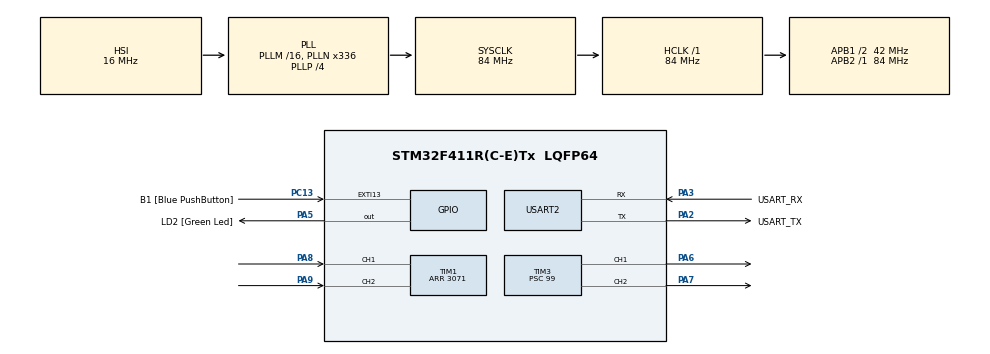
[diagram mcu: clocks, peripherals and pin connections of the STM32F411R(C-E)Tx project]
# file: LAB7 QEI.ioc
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Mcu.Family=STM32F4
PC15-OSC32_OUT.Mode=LSE-External-Oscillator
RCC.CortexFreq_Value=84000000
PC13-ANTI_TAMP.GPIO_Label=B1 [Blue PushButton]
PA14.GPIO_Label=TCK
PH1\ -\ OSC_OUT.Mode=HSE-External-Clock-Source
TIM1.EncoderMode=TIM_ENCODERMODE_TI12
RCC.APB1CLKDivider=RCC_HCLK_DIV2
PC14-OSC32_IN.Signal=RCC_OSC32_IN
RCC.SYSCLKSource=RCC_SYSCLKSOURCE_PLLCLK
ProjectManager.StackSize=0x400
PA3.Mode=Asynchronous
PA13.Signal=SYS_JTMS-SWDIO
PH0\ -\ OSC_IN.Mode=HSE-External-Clock-Source
SH.S_TIM1_CH1.0=TIM1_CH1,Encoder_Interface
PH0\ -\ OSC_IN.Signal=RCC_OSC_IN
ProjectManager.TargetToolchain=STM32CubeIDE
RCC.HCLKFreq_Value=84000000
RCC.APB2TimFreq_Value=84000000
TIM3.Period=10000
PA9.Signal=S_TIM1_CH2
PC15-OSC32_OUT.Signal=RCC_OSC32_OUT
RCC.AHBFreq_Value=84000000
TIM3.Channel-PWM\ Generation1\ CH1=TIM_CHANNEL_1
PA5.Signal=GPIO_Output
SH.S_TIM3_CH2.0=TIM3_CH2,PWM Generation2 CH2
RCC.HSE_VALUE=8000000
PH1\ -\ OSC_OUT.Signal=RCC_OSC_OUT
board=NUCLEO-F411RE
PC13-ANTI_TAMP.Signal=GPXTI13
RCC.VCOOutputFreq_Value=336000000
RCC.APB2Freq_Value=84000000
PC14-OSC32_IN.Mode=LSE-External-Oscillator
SH.S_TIM1_CH2.0=TIM1_CH2,Encoder_Interface
VP_TIM2_VS_ClockSourceINT.Mode=Internal
PA14.Mode=Serial_Wire
TIM3.Prescaler=99
NVIC.TIM2_IRQn=true\:0\:0\:false\:false\:true\:true\:true
TIM1.IC2Filter=2
PA8.Signal=S_TIM1_CH1
SH.S_TIM3_CH1.0=TIM3_CH1,PWM Generation1 CH1
PA13.Mode=Serial_Wire
Mcu.Name=STM32F411R(C-E)Tx
PA2.Signal=USART2_TX
PA13.GPIO_Label=TMS
RCC.FLatency-AdvancedSettings=FLASH_LATENCY_2
RCC.48MHZClocksFreq_Value=84000000
PB3.Signal=SYS_JTDO-SWO
RCC.SYSCLKFreq_VALUE=84000000
Mcu.Package=LQFP64
TIM2.Prescaler=99
PA6.Signal=S_TIM3_CH1
PA5.GPIO_Label=LD2 [Green Led]
TIM1.IC1Filter=2
USART2.VirtualMode=VM_ASYNC
PC13-ANTI_TAMP.GPIO_ModeDefaultEXTI=GPIO_MODE_IT_FALLING
PA2.GPIO_Label=USART_TX
PA14.Signal=SYS_JTCK-SWCLK
ProjectManager.HeapSize=0x200
RCC.HSI_VALUE=16000000
RCC.PLLP=RCC_PLLP_DIV4
NVIC.PriorityGroup=NVIC_PRIORITYGROUP_0
TIM3.Channel-PWM\ Generation2\ CH2=TIM_CHANNEL_2
RCC.PLLN=336
RCC.APB1TimFreq_Value=84000000
PA2.Mode=Asynchronous
TIM1.Period=3071
RCC.APB1Freq_Value=42000000
VP_TIM3_VS_ClockSourceINT.Mode=Internal
PA3.GPIO_Label=USART_RX
PA3.Signal=USART2_RX
PA7.Signal=S_TIM3_CH2
PB3.GPIO_Label=SWO

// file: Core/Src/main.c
/* USER CODE BEGIN Header */
/**
 ******************************************************************************
 * @file           : main.c
 * @brief          : Main program body
 ******************************************************************************
 * @attention
 *
 * <h2><center>&copy; Copyright (c) 2021 STMicroelectronics.
 * All rights reserved.</center></h2>
 *
 * This software component is licensed by ST under BSD 3-Clause license,
 * the "License"; You may not use this file except in compliance with the
 * License. You may obtain a copy of the License at:
 *                        opensource.org/licenses/BSD-3-Clause
 *
 ******************************************************************************
 */
/* USER CODE END Header */
#include "main.h"

TIM_HandleTypeDef htim1;
TIM_HandleTypeDef htim2;
TIM_HandleTypeDef htim3;

UART_HandleTypeDef huart2;

/* USER CODE BEGIN PV */
uint64_t _micros = 0;
float EncoderVel = 0;
float MotorRPM = 0;
uint64_t Timestamp_Encoder = 0;
int PWMOut = 0;
int InputRPM = 0;
/* USER CODE END PV */

void SystemClock_Config(void);
static void MX_GPIO_Init(void);
static void MX_USART2_UART_Init(void);
static void MX_TIM1_Init(void);
static void MX_TIM3_Init(void);
static void MX_TIM2_Init(void);
/* USER CODE BEGIN PFP */
uint64_t micros();
float EncoderVelocity_Update();
void RunMotor();
void PWMControl(int);

/* USER CODE END PFP */

int main(void)
{

  /* MCU Configuration--------------------------------------------------------*/

  /* Reset of all peripherals, Initializes the Flash interface and the Systick. */
  HAL_Init();

  /* Configure the system clock */
  SystemClock_Config();

  /* Initialize all configured peripherals */
  MX_GPIO_Init();
  MX_USART2_UART_Init();
  MX_TIM1_Init();
  MX_TIM3_Init();
  MX_TIM2_Init();
  /* USER CODE BEGIN 2 */
	HAL_TIM_Base_Start_IT(&htim2);
	HAL_TIM_Encoder_Start(&htim1, TIM_CHANNEL_ALL);

	HAL_TIM_Base_Start(&htim3);
	HAL_TIM_PWM_Start(&htim3, TIM_CHANNEL_1);
	HAL_TIM_PWM_Start(&htim3, TIM_CHANNEL_2);
  /* USER CODE END 2 */

  /* Infinite loop */
	while (1)
	{

    /* USER CODE BEGIN 3 */

		//RAW Read
//		if (micros() - Timestamp_Encoder >= 1000)
//		{
//			Timestamp_Encoder = micros();
//			EncoderVel = EncoderVelocity_Update();
//		}

		//Add LPF?

		if (micros() - Timestamp_Encoder >= 1000) //1000uS
		{
//			__HAL_TIM_SET_COMPARE(&htim3, TIM_CHANNEL_1, PWMOut);
//			__HAL_TIM_SET_COMPARE(&htim3, TIM_CHANNEL_2, 0);
//			HAL_GPIO_WritePin(GPIOA, GPIO_PIN_7, 1);
			Timestamp_Encoder = micros();
			EncoderVel = (EncoderVel * 99 + EncoderVelocity_Update()) / 100.0;
			MotorRPM = (MotorRPM * 99 + (EncoderVel*60/3072)) / 100.0;
			RunMotor();
		}

	}
  /* USER CODE END 3 */
}

void SystemClock_Config(void)
{
  RCC_OscInitTypeDef RCC_OscInitStruct = {0};
  RCC_ClkInitTypeDef RCC_ClkInitStruct = {0};

  /** Configure the main internal regulator output voltage
  */
  __HAL_RCC_PWR_CLK_ENABLE();
  __HAL_PWR_VOLTAGESCALING_CONFIG(PWR_REGULATOR_VOLTAGE_SCALE1);
  /** Initializes the RCC Oscillators according to the specified parameters
  * in the RCC_OscInitTypeDef structure.
  */
  RCC_OscInitStruct.OscillatorType = RCC_OSCILLATORTYPE_HSI;
  RCC_OscInitStruct.HSIState = RCC_HSI_ON;
  RCC_OscInitStruct.HSICalibrationValue = RCC_HSICALIBRATION_DEFAULT;
  RCC_OscInitStruct.PLL.PLLState = RCC_PLL_ON;
  RCC_OscInitStruct.PLL.PLLSource = RCC_PLLSOURCE_HSI;
  RCC_OscInitStruct.PLL.PLLM = 16;
  RCC_OscInitStruct.PLL.PLLN = 336;
  RCC_OscInitStruct.PLL.PLLP = RCC_PLLP_DIV4;
  RCC_OscInitStruct.PLL.PLLQ = 4;
  if (HAL_RCC_OscConfig(&RCC_OscInitStruct) != HAL_OK)
  {
    Error_Handler();
  }
  /** Initializes the CPU, AHB and APB buses clocks
  */
  RCC_ClkInitStruct.ClockType = RCC_CLOCKTYPE_HCLK|RCC_CLOCKTYPE_SYSCLK
                              |RCC_CLOCKTYPE_PCLK1|RCC_CLOCKTYPE_PCLK2;
  RCC_ClkInitStruct.SYSCLKSource = RCC_SYSCLKSOURCE_PLLCLK;
  RCC_ClkInitStruct.AHBCLKDivider = RCC_SYSCLK_DIV1;
  RCC_ClkInitStruct.APB1CLKDivider = RCC_HCLK_DIV2;
  RCC_ClkInitStruct.APB2CLKDivider = RCC_HCLK_DIV1;

  if (HAL_RCC_ClockConfig(&RCC_ClkInitStruct, FLASH_LATENCY_2) != HAL_OK)
  {
    Error_Handler();
  }
}

static void MX_TIM1_Init(void)
{

  TIM_Encoder_InitTypeDef sConfig = {0};
  TIM_MasterConfigTypeDef sMasterConfig = {0};

  htim1.Instance = TIM1;
  htim1.Init.Prescaler = 0;
  htim1.Init.CounterMode = TIM_COUNTERMODE_UP;
  htim1.Init.Period = 3071;
  htim1.Init.ClockDivision = TIM_CLOCKDIVISION_DIV1;
  htim1.Init.RepetitionCounter = 0;
  htim1.Init.AutoReloadPreload = TIM_AUTORELOAD_PRELOAD_DISABLE;
  sConfig.EncoderMode = TIM_ENCODERMODE_TI12;
  sConfig.IC1Polarity = TIM_ICPOLARITY_RISING;
  sConfig.IC1Selection = TIM_ICSELECTION_DIRECTTI;
  sConfig.IC1Prescaler = TIM_ICPSC_DIV1;
  sConfig.IC1Filter = 2;
  sConfig.IC2Polarity = TIM_ICPOLARITY_RISING;
  sConfig.IC2Selection = TIM_ICSELECTION_DIRECTTI;
  sConfig.IC2Prescaler = TIM_ICPSC_DIV1;
  sConfig.IC2Filter = 2;
  if (HAL_TIM_Encoder_Init(&htim1, &sConfig) != HAL_OK)
  {
    Error_Handler();
  }
  sMasterConfig.MasterOutputTrigger = TIM_TRGO_RESET;
  sMasterConfig.MasterSlaveMode = TIM_MASTERSLAVEMODE_DISABLE;
  if (HAL_TIMEx_MasterConfigSynchronization(&htim1, &sMasterConfig) != HAL_OK)
  {
    Error_Handler();
  }

}

static void MX_TIM2_Init(void)
{

  TIM_ClockConfigTypeDef sClockSourceConfig = {0};
  TIM_MasterConfigTypeDef sMasterConfig = {0};

  htim2.Instance = TIM2;
  htim2.Init.Prescaler = 99;
  htim2.Init.CounterMode = TIM_COUNTERMODE_UP;
  htim2.Init.Period = 4294967295;
  htim2.Init.ClockDivision = TIM_CLOCKDIVISION_DIV1;
  htim2.Init.AutoReloadPreload = TIM_AUTORELOAD_PRELOAD_DISABLE;
  if (HAL_TIM_Base_Init(&htim2) != HAL_OK)
  {
    Error_Handler();
  }
  sClockSourceConfig.ClockSource = TIM_CLOCKSOURCE_INTERNAL;
  if (HAL_TIM_ConfigClockSource(&htim2, &sClockSourceConfig) != HAL_OK)
  {
    Error_Handler();
  }
  sMasterConfig.MasterOutputTrigger = TIM_TRGO_RESET;
  sMasterConfig.MasterSlaveMode = TIM_MASTERSLAVEMODE_DISABLE;
  if (HAL_TIMEx_MasterConfigSynchronization(&htim2, &sMasterConfig) != HAL_OK)
  {
    Error_Handler();
  }

}

static void MX_TIM3_Init(void)
{

  TIM_ClockConfigTypeDef sClockSourceConfig = {0};
  TIM_MasterConfigTypeDef sMasterConfig = {0};
  TIM_OC_InitTypeDef sConfigOC = {0};

  htim3.Instance = TIM3;
  htim3.Init.Prescaler = 99;
  htim3.Init.CounterMode = TIM_COUNTERMODE_UP;
  htim3.Init.Period = 10000;
  htim3.Init.ClockDivision = TIM_CLOCKDIVISION_DIV1;
  htim3.Init.AutoReloadPreload = TIM_AUTORELOAD_PRELOAD_DISABLE;
  if (HAL_TIM_Base_Init(&htim3) != HAL_OK)
  {
    Error_Handler();
  }
  sClockSourceConfig.ClockSource = TIM_CLOCKSOURCE_INTERNAL;
  if (HAL_TIM_ConfigClockSource(&htim3, &sClockSourceConfig) != HAL_OK)
  {
    Error_Handler();
  }
  if (HAL_TIM_PWM_Init(&htim3) != HAL_OK)
  {
    Error_Handler();
  }
  sMasterConfig.MasterOutputTrigger = TIM_TRGO_RESET;
  sMasterConfig.MasterSlaveMode = TIM_MASTERSLAVEMODE_DISABLE;
  if (HAL_TIMEx_MasterConfigSynchronization(&htim3, &sMasterConfig) != HAL_OK)
  {
    Error_Handler();
  }
  sConfigOC.OCMode = TIM_OCMODE_PWM1;
  sConfigOC.Pulse = 0;
  sConfigOC.OCPolarity = TIM_OCPOLARITY_HIGH;
  sConfigOC.OCFastMode = TIM_OCFAST_DISABLE;
  if (HAL_TIM_PWM_ConfigChannel(&htim3, &sConfigOC, TIM_CHANNEL_1) != HAL_OK)
  {
    Error_Handler();
  }
  if (HAL_TIM_PWM_ConfigChannel(&htim3, &sConfigOC, TIM_CHANNEL_2) != HAL_OK)
  {
    Error_Handler();
  }
  HAL_TIM_MspPostInit(&htim3);

}

static void MX_USART2_UART_Init(void)
{

  huart2.Instance = USART2;
  huart2.Init.BaudRate = 115200;
  huart2.Init.WordLength = UART_WORDLENGTH_8B;
  huart2.Init.StopBits = UART_STOPBITS_1;
  huart2.Init.Parity = UART_PARITY_NONE;
  huart2.Init.Mode = UART_MODE_TX_RX;
  huart2.Init.HwFlowCtl = UART_HWCONTROL_NONE;
  huart2.Init.OverSampling = UART_OVERSAMPLING_16;
  if (HAL_UART_Init(&huart2) != HAL_OK)
  {
    Error_Handler();
  }

}

static void MX_GPIO_Init(void)
{
  GPIO_InitTypeDef GPIO_InitStruct = {0};

  /* GPIO Ports Clock Enable */
  __HAL_RCC_GPIOC_CLK_ENABLE();
  __HAL_RCC_GPIOH_CLK_ENABLE();
  __HAL_RCC_GPIOA_CLK_ENABLE();
  __HAL_RCC_GPIOB_CLK_ENABLE();

  /*Configure GPIO pin Output Level */
  HAL_GPIO_WritePin(LD2_GPIO_Port, LD2_Pin, GPIO_PIN_RESET);

  /*Configure GPIO pin : B1_Pin */
  GPIO_InitStruct.Pin = B1_Pin;
  GPIO_InitStruct.Mode = GPIO_MODE_IT_FALLING;
  GPIO_InitStruct.Pull = GPIO_NOPULL;
  HAL_GPIO_Init(B1_GPIO_Port, &GPIO_InitStruct);

  /*Configure GPIO pin : LD2_Pin */
  GPIO_InitStruct.Pin = LD2_Pin;
  GPIO_InitStruct.Mode = GPIO_MODE_OUTPUT_PP;
  GPIO_InitStruct.Pull = GPIO_NOPULL;
  GPIO_InitStruct.Speed = GPIO_SPEED_FREQ_LOW;
  HAL_GPIO_Init(LD2_GPIO_Port, &GPIO_InitStruct);

}

/* USER CODE BEGIN 4 */
#define  HTIM_ENCODER htim1
#define  MAX_SUBPOSITION_OVERFLOW 1536
#define  MAX_ENCODER_PERIOD 3072
uint32_t EncoderNowPosition;

float Kp = 80; //80
float Ki = 0.5; //0.5
float Kd = 0.1; //0.05

float EncoderVelocity_Update()
{
	//Save Last state
	static uint32_t EncoderLastPosition = 0;
	static uint64_t EncoderLastTimestamp = 0;

	//read data
	uint32_t EncoderNowPosition = HTIM_ENCODER.Instance->CNT;
	uint64_t EncoderNowTimestamp = micros();

	int32_t EncoderPositionDiff;
	uint64_t EncoderTimeDiff;

	EncoderTimeDiff = EncoderNowTimestamp - EncoderLastTimestamp;
	EncoderPositionDiff = EncoderNowPosition - EncoderLastPosition;

	//compensate overflow and underflow
	if (EncoderPositionDiff >= MAX_SUBPOSITION_OVERFLOW)
	{
		EncoderPositionDiff -= MAX_ENCODER_PERIOD;
	}
	else if (-EncoderPositionDiff >= MAX_SUBPOSITION_OVERFLOW)
	{
		EncoderPositionDiff += MAX_ENCODER_PERIOD;
	}

	//Update Position and time
	EncoderLastPosition = EncoderNowPosition;
	EncoderLastTimestamp = EncoderNowTimestamp;

	//Calculate velocity
	//EncoderTimeDiff is in uS
	return (EncoderPositionDiff * 1000000) / (float) EncoderTimeDiff; // dP/dT = V

}

void RunMotor()
{
	PWMControl(InputRPM);
	if (InputRPM == 0)
	{
		PWMOut = 0;
		__HAL_TIM_SET_COMPARE(&htim3, TIM_CHANNEL_1, 0);
		__HAL_TIM_SET_COMPARE(&htim3, TIM_CHANNEL_2, 0);
	}
	else if(PWMOut > 0)
	{
		if(PWMOut > 10000)
		{
			PWMOut = 10000;
		}
		__HAL_TIM_SET_COMPARE(&htim3, TIM_CHANNEL_1, PWMOut);
		__HAL_TIM_SET_COMPARE(&htim3, TIM_CHANNEL_2, 0);
	}
	else if(PWMOut < 0)
	{
		if(PWMOut < -10000)
		{
			PWMOut = -10000;
		}
		__HAL_TIM_SET_COMPARE(&htim3, TIM_CHANNEL_1, 0);
		__HAL_TIM_SET_COMPARE(&htim3, TIM_CHANNEL_2, -1*PWMOut);
	}
	else
	{
		__HAL_TIM_SET_COMPARE(&htim3, TIM_CHANNEL_1, 0);
		__HAL_TIM_SET_COMPARE(&htim3, TIM_CHANNEL_2, 0);
	}
}

void PWMControl(int InputRPM)
{
	static float Error,SumError,PreError;
	Error = InputRPM - MotorRPM;
	SumError += Error;
	PWMOut = Kp*Error + Ki*SumError + Kd*(Error-PreError);
	PreError = Error;
}

void HAL_TIM_PeriodElapsedCallback(TIM_HandleTypeDef *htim)
{
	if (htim == &htim2)
	{
		_micros += 4294967295;
	}
}
uint64_t micros()
{
	return _micros + htim2.Instance->CNT;
}
/* USER CODE END 4 */

void Error_Handler(void)
{
	__disable_irq();
	while (1)
	{
	}
}

/************************ (C) COPYRIGHT STMicroelectronics *****END OF FILE****/
